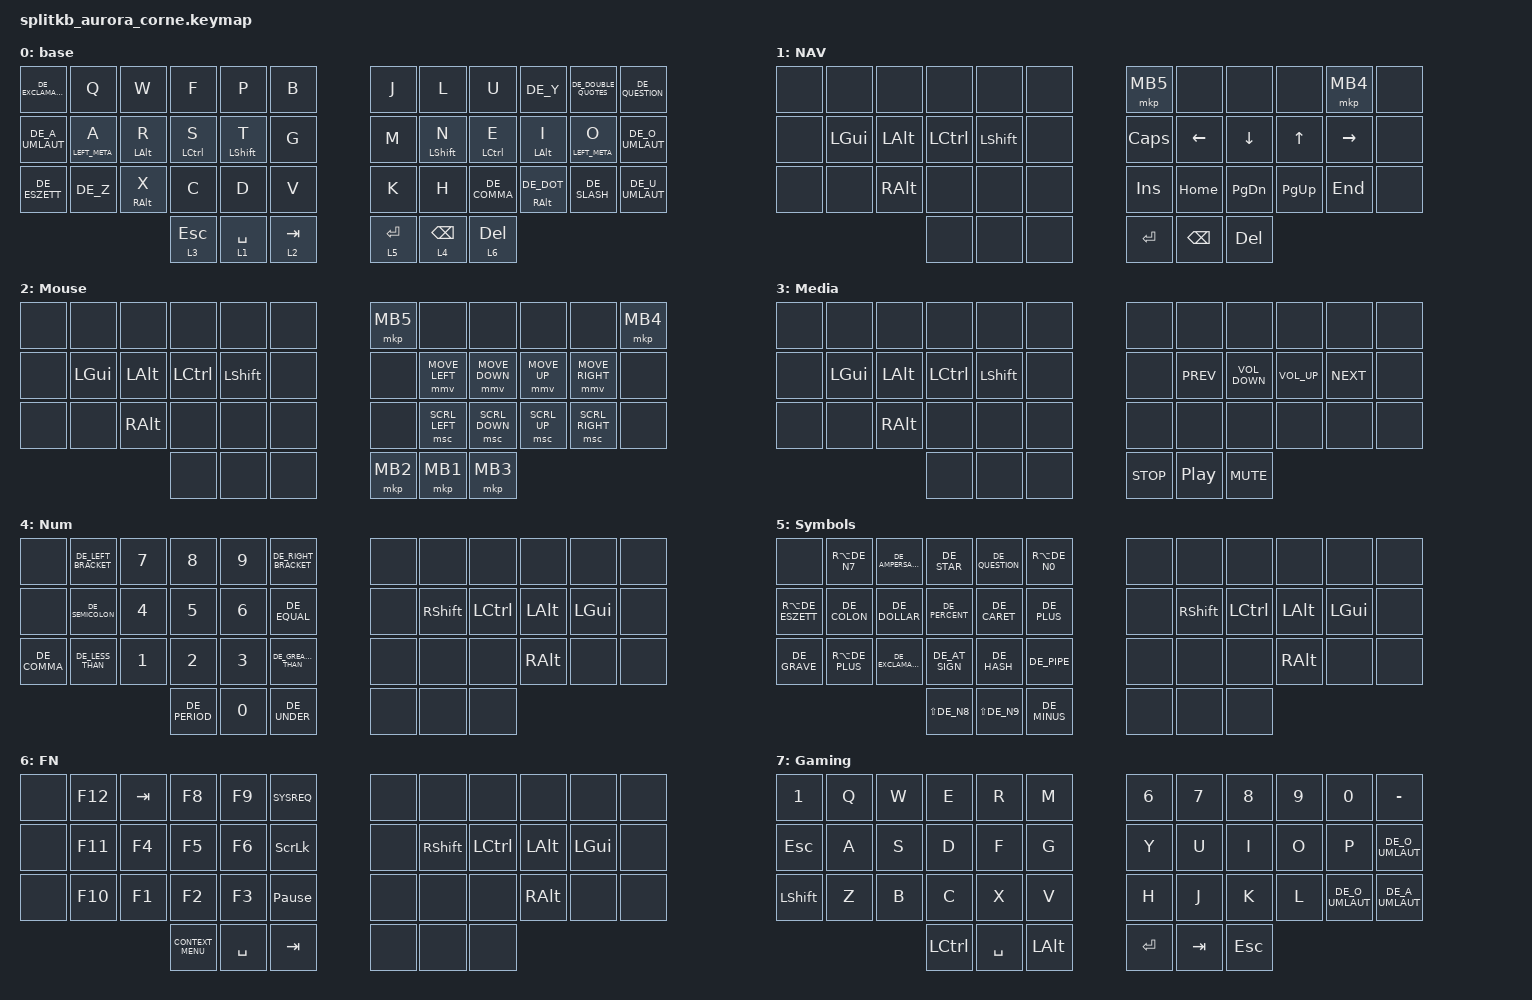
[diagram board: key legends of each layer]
/*
 * Copyright (c) 2020 The ZMK Contributors
 *
 * SPDX-License-Identifier: MIT
 */

#include"keys_de.h"
#include <dt-bindings/zmk/mouse.h>
#include <behaviors.dtsi>
#include <dt-bindings/zmk/keys.h>
#include <dt-bindings/zmk/pointing.h>

/ {
    behaviors {
        new_behavior: new_behavior {
            compatible = "zmk,behavior-hold-tap";
            label = "NEW_BEHAVIOR";
            bindings = <&none>, <&none>;

            #binding-cells = <2>;
            flavor = "balanced";
            tapping-term-ms = <200>;
        };

        hml: hml {
            compatible = "zmk,behavior-hold-tap";
            label = "HML";
            bindings = <&kp>, <&kp>;

            #binding-cells = <2>;
            flavor = "balanced";
            tapping-term-ms = <280>;
            quick-tap-ms = <175>;
            require-prior-idle-ms = <150>;
            hold-trigger-key-positions = <6 18 30 31 32 33 34 35 11 23 22 10 9 21 20 8 7 19 36 37 38 39 40 41 6 7 9 10 11 18 19 20 21 22 23 30 31 32 33 34 35>;
            hold-trigger-on-release;
        };

        hmr: hmr {
            compatible = "zmk,behavior-hold-tap";
            label = "HMR";
            bindings = <&kp>, <&kp>;

            #binding-cells = <2>;
            tapping-term-ms = <280>;
            quick-tap-ms = <175>;
            require-prior-idle-ms = <150>;
            flavor = "balanced";
            hold-trigger-key-positions = <0 1 2 3 4 5 12 13 14 15 16 17 24 25 26 27 28 29 36 37 38 39 40 41>;
            hold-trigger-on-release;
        };

        smart_shift: smart_shift {
            compatible = "zmk,behavior-mod-morph";
            label = "SMART_SHIFT";
            bindings = <&sk LEFT_SHIFT>, <&caps_word>;

            #binding-cells = <0>;
            mods = <(MOD_LSFT)>;
        };
    };

    combos {
        compatible = "zmk,combos";

        Escape {
            bindings = <&kp ESCAPE>;
            key-positions = <31 32 33>;
        };

        LeftParen {
            bindings = <&kp LS(DE_N8)>;
            key-positions = <16 17>;
        };

        RightParen {
            bindings = <&kp LS(DE_N9)>;
            key-positions = <19 18>;
        };

        LeftBracket {
            bindings = <&kp RA(DE_N8)>;
            key-positions = <28 29>;
        };

        RightBracket {
            bindings = <&kp RA(DE_N9)>;
            key-positions = <31 30>;
        };

        Tab {
            bindings = <&kp TAB>;
            key-positions = <7 9 8>;
        };

        DoubleQuotes {
            bindings = <&kp LS(DE_HASH)>;
            key-positions = <33 34>;
        };

        Backslash {
            bindings = <&kp RA(DE_ESZETT)>;
            key-positions = <8 9>;
        };

        left-bracelet {
            bindings = <&kp RA(DE_N7)>;
            key-positions = <4 5>;
        };

        right-bracelet {
            bindings = <&kp RA(DE_N0)>;
            key-positions = <7 6>;
        };

        tilde {
            bindings = <&kp RA(DE_PLUS)>;
            key-positions = <25 26>;
        };

        enter {
            bindings = <&kp ENTER>;
            key-positions = <3 4 2>;
        };

        backsbace {
            bindings = <&kp BACKSPACE>;
            key-positions = <16 15 14>;
        };

        delete {
            bindings = <&kp DELETE>;
            key-positions = <28 27 26>;
        };

        space {
            bindings = <&kp SPACE>;
            key-positions = <20 19 21>;
        };

        GamingToggle {
            bindings = <&tog 7>;
            key-positions = <0 24>;
        };
    };

    keymap {
        compatible = "zmk,keymap";

        base {
            // -----------------------------------------------------------------------------------------
            // |  TAB |  Q  |  W  |  E  |  R  |  T  |   |  Y  |  U   |  I  |  O  |  P  | BKSP |
            // | CTRL |  A  |  S  |  D  |  F  |  G  |   |  H  |  J   |  K  |  L  |  ;  |  '   |
            // | SHFT |  Z  |  X  |  C  |  V  |  B  |   |  N  |  M   |  ,  |  .  |  /  | ESC  |
            //                    | GUI | LWR | SPC |   | ENT | RSE  | ALT |

            bindings = <
&kp DE_EXCLAMATION  &kp Q             &kp W             &kp F         &kp P              &kp B        &kp J        &kp L              &kp U         &kp DE_Y               &kp DE_DOUBLE_QUOTES  &kp DE_QUESTION
&kp DE_A_UMLAUT     &hml LEFT_META A  &hml LEFT_ALT R   &hml LCTRL S  &hml LEFT_SHIFT T  &kp G        &kp M        &hmr LEFT_SHIFT N  &hmr LCTRL E  &hmr LEFT_ALT I        &hmr LEFT_META O      &kp DE_O_UMLAUT
&kp DE_ESZETT       &kp DE_Z          &hml RIGHT_ALT X  &kp C         &kp D              &kp V        &kp K        &kp H              &kp DE_COMMA  &hmr RIGHT_ALT DE_DOT  &kp DE_SLASH          &kp DE_U_UMLAUT
                                                        &lt 3 ESCAPE  &lt 1 SPACE        &lt 2 TAB    &lt 5 ENTER  &lt 4 BACKSPACE    &lt 6 DELETE
            >;
        };

        NAV {
            // -----------------------------------------------------------------------------------------
            // |  TAB |  1  |  2  |  3  |  4  |  5  |   |  6  |  7  |  8  |  9  |  0  | BKSP |
            // | BTCLR| BT1 | BT2 | BT3 | BT4 | BT5 |   | LFT | DWN |  UP | RGT |     |      |
            // | SHFT |     |     |     |     |     |   |     |     |     |     |     |      |
            //                    | GUI |     | SPC |   | ENT |     | ALT |

            bindings = <
&none  &none     &none     &none      &none      &none    &mkp MB5      &none           &none       &none      &mkp MB4   &none
&none  &kp LGUI  &kp LALT  &kp LCTRL  &kp LSHFT  &none    &kp CAPSLOCK  &kp LEFT_ARROW  &kp DOWN    &kp UP     &kp RIGHT  &none
&none  &none     &kp RALT  &none      &none      &none    &kp INS       &kp HOME        &kp PG_DN   &kp PG_UP  &kp END    &none
                           &none      &none      &none    &kp RET       &kp BACKSPACE   &kp DELETE
            >;
        };

        Mouse {
            bindings = <
&none  &none     &none     &none      &none      &none    &mkp MB5  &none           &none           &none         &none            &mkp MB4
&none  &kp LGUI  &kp LALT  &kp LCTRL  &kp LSHFT  &none    &none     &mmv MOVE_LEFT  &mmv MOVE_DOWN  &mmv MOVE_UP  &mmv MOVE_RIGHT  &none
&none  &none     &kp RALT  &none      &none      &none    &none     &msc SCRL_LEFT  &msc SCRL_DOWN  &msc SCRL_UP  &msc SCRL_RIGHT  &none
                           &none      &none      &none    &mkp MB2  &mkp MB1        &mkp MB3
            >;
        };

        Media {
            bindings = <
&none  &none     &none     &none      &none      &none    &none       &none             &none              &none            &none       &none
&none  &kp LGUI  &kp LALT  &kp LCTRL  &kp LSHFT  &none    &none       &kp C_PREV        &kp C_VOLUME_DOWN  &kp C_VOLUME_UP  &kp C_NEXT  &none
&none  &none     &kp RALT  &none      &none      &none    &none       &none             &none              &none            &none       &none
                           &none      &none      &none    &kp C_STOP  &kp C_PLAY_PAUSE  &kp C_MUTE
            >;
        };

        Num {
            bindings = <
&none         &kp DE_LEFT_BRACKET  &kp N7  &kp N8         &kp N9  &kp DE_RIGHT_BRACKET    &none  &none      &none      &none     &none     &none
&none         &kp DE_SEMICOLON     &kp N4  &kp N5         &kp N6  &kp DE_EQUAL            &none  &kp RSHFT  &kp LCTRL  &kp LALT  &kp LGUI  &none
&kp DE_COMMA  &kp DE_LESS_THAN     &kp N1  &kp N2         &kp N3  &kp DE_GREATER_THAN     &none  &none      &none      &kp RALT  &none     &none
                                           &kp DE_PERIOD  &kp N0  &kp DE_UNDER            &none  &none      &none
            >;
        };

        Symbols {
            bindings = <
&none              &kp RA(DE_N7)    &kp DE_AMPERSAND    &kp DE_STAR     &kp DE_QUESTION  &kp RA(DE_N0)    &none  &none      &none      &none     &none     &none
&kp RA(DE_ESZETT)  &kp DE_COLON     &kp DE_DOLLAR       &kp DE_PERCENT  &kp DE_CARET     &kp DE_PLUS      &none  &kp RSHFT  &kp LCTRL  &kp LALT  &kp LGUI  &none
&kp DE_GRAVE       &kp RA(DE_PLUS)  &kp DE_EXCLAMATION  &kp DE_AT_SIGN  &kp DE_HASH      &kp DE_PIPE      &none  &none      &none      &kp RALT  &none     &none
                                                        &kp LS(DE_N8)   &kp LS(DE_N9)    &kp DE_MINUS     &none  &none      &none
            >;
        };

        FN {
            bindings = <
&none  &kp F12  &kp TAB  &kp F8              &kp F9     &kp SYSREQ         &none  &none      &none      &none     &none     &none
&none  &kp F11  &kp F4   &kp F5              &kp F6     &kp SCROLLLOCK     &none  &kp RSHFT  &kp LCTRL  &kp LALT  &kp LGUI  &none
&none  &kp F10  &kp F1   &kp F2              &kp F3     &kp PAUSE_BREAK    &none  &none      &none      &kp RALT  &none     &none
                         &kp K_CONTEXT_MENU  &kp SPACE  &kp TAB            &none  &none      &none
            >;
        };

        Gaming {
            // ─── Factorio/Gaming Layer ────────────────────────────────────────────
            // Toggle: ESC+Q (pos 0+12) = rein/raus
            //
            // TOP:     ESC   1    W    E    R    M
            // HOME:    Q     A    S    D    F    G
            // BOTTOM:  LSH   Z    B    C    X    V
            // THUMB:         LCTRL  SPC  LALT
            //
            // Alt-Kombos:    LALT+G (Green Wire), LALT+R (Red Wire), LALT+C (Copper)
            // Ctrl-Kombos:   LCTRL+Z (Undo), LCTRL+X (Cut), LCTRL+C (Copy), LCTRL+V (Paste)
            // ────────────────────────────────────────────────────────────────────────

            bindings = <
&kp N1      &kp Q  &kp W  &kp E      &kp R      &kp M       &kp N6     &kp N7   &kp N8   &kp N9  &kp N0           &kp MINUS
&kp ESCAPE  &kp A  &kp S  &kp D      &kp F      &kp G       &kp Y      &kp U    &kp I    &kp O   &kp P            &kp DE_O_UMLAUT
&kp LSHIFT  &kp Z  &kp B  &kp C      &kp X      &kp V       &kp H      &kp J    &kp K    &kp L   &kp DE_O_UMLAUT  &kp DE_A_UMLAUT
                          &kp LCTRL  &kp SPACE  &kp LALT    &kp ENTER  &kp TAB  &kp ESC
            >;
        };
    };
};
